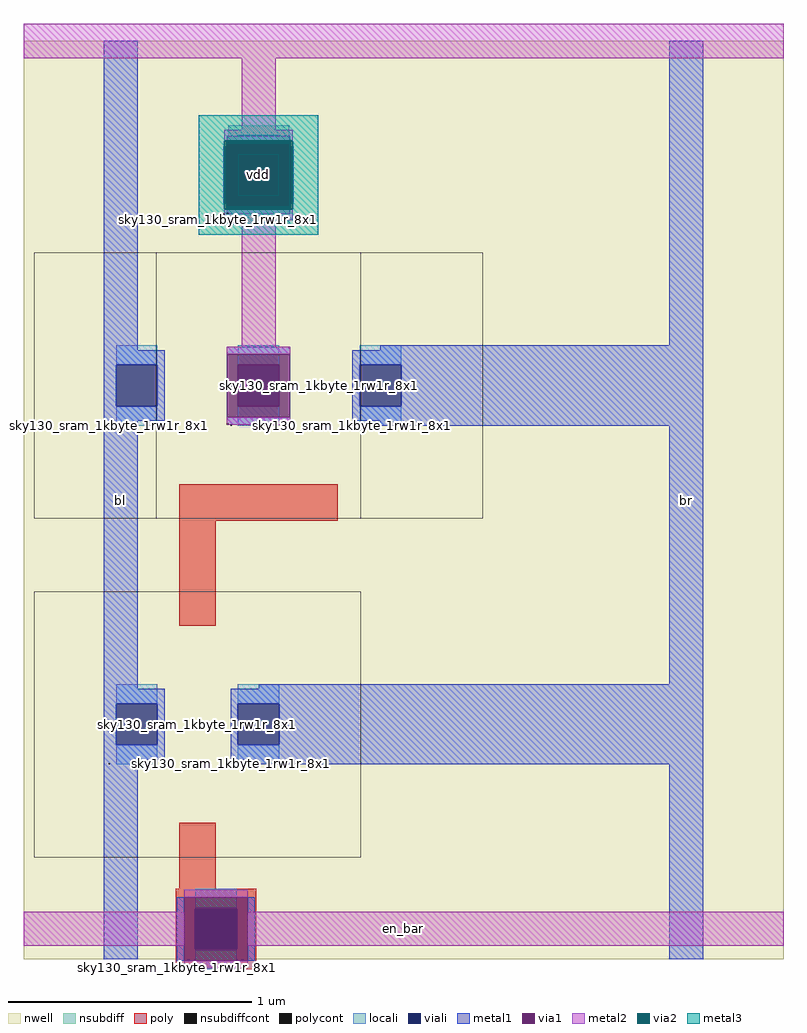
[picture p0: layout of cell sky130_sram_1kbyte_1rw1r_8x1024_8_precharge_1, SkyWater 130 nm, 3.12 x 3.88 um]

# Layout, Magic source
magic
tech sky130A
magscale 1 2
<< nwell >>
rect 0 0 624 754
<< nsubdiff >>
rect 168 661 218 685
rect 168 627 176 661
rect 210 627 218 661
rect 168 603 218 627
<< nsubdiffcont >>
rect 176 627 210 661
<< poly >>
rect 128 360 258 390
rect 128 274 158 360
rect 128 58 158 112
rect 125 42 191 58
rect 125 8 141 42
rect 175 8 191 42
rect 125 -8 191 8
<< polycont >>
rect 141 8 175 42
<< locali >>
rect 176 661 210 677
rect 176 611 210 627
rect 76 488 110 504
rect 76 438 110 454
rect 176 488 210 504
rect 176 438 210 454
rect 276 488 310 504
rect 276 438 310 454
rect 76 210 110 226
rect 76 160 110 176
rect 176 210 210 226
rect 176 160 210 176
rect 141 42 175 58
rect 141 -8 175 8
<< viali >>
rect 176 627 210 661
rect 76 454 110 488
rect 176 454 210 488
rect 276 454 310 488
rect 76 176 110 210
rect 176 176 210 210
rect 141 8 175 42
<< metal1 >>
rect 66 500 94 754
rect 167 670 219 676
rect 164 621 167 667
rect 219 621 222 667
rect 167 612 219 618
rect 530 504 558 754
rect 66 488 116 500
rect 66 454 76 488
rect 110 454 116 488
rect 66 442 116 454
rect 167 497 219 503
rect 293 500 558 504
rect 66 222 94 442
rect 167 439 219 445
rect 270 488 558 500
rect 270 454 276 488
rect 310 454 558 488
rect 270 442 558 454
rect 293 438 558 442
rect 530 226 558 438
rect 193 222 558 226
rect 66 210 116 222
rect 66 176 76 210
rect 110 176 116 210
rect 66 164 116 176
rect 170 210 558 222
rect 170 176 176 210
rect 210 176 558 210
rect 170 164 558 176
rect 66 0 94 164
rect 193 160 558 164
rect 126 -1 132 51
rect 184 -1 190 51
rect 530 0 558 160
<< via1 >>
rect 167 661 219 670
rect 167 627 176 661
rect 176 627 210 661
rect 210 627 219 661
rect 167 618 219 627
rect 167 488 219 497
rect 167 454 176 488
rect 176 454 210 488
rect 210 454 219 488
rect 167 445 219 454
rect 132 42 184 51
rect 132 8 141 42
rect 141 8 175 42
rect 175 8 184 42
rect 132 -1 184 8
<< metal2 >>
rect 0 740 624 768
rect 179 681 207 740
rect 165 672 221 681
rect 165 607 221 616
rect 179 503 207 607
rect 167 497 219 503
rect 167 439 219 445
rect 132 51 184 57
rect 0 11 132 39
rect 184 11 624 39
rect 132 -7 184 -1
<< via2 >>
rect 165 670 221 672
rect 165 618 167 670
rect 167 618 219 670
rect 219 618 221 670
rect 165 616 221 618
<< metal3 >>
rect 144 672 242 693
rect 144 616 165 672
rect 221 616 242 672
rect 144 595 242 616
use sky130_sram_1kbyte_1rw1r_8x1024_8_contact_23  sky130_sram_1kbyte_1rw1r_8x1024_8_contact_23_0
transform 1 0 270 0 1 438
box 0 0 1 1
use sky130_sram_1kbyte_1rw1r_8x1024_8_contact_23  sky130_sram_1kbyte_1rw1r_8x1024_8_contact_23_1
transform 1 0 70 0 1 438
box 0 0 1 1
use sky130_sram_1kbyte_1rw1r_8x1024_8_contact_23  sky130_sram_1kbyte_1rw1r_8x1024_8_contact_23_2
transform 1 0 170 0 1 160
box 0 0 1 1
use sky130_sram_1kbyte_1rw1r_8x1024_8_contact_23  sky130_sram_1kbyte_1rw1r_8x1024_8_contact_23_3
transform 1 0 70 0 1 160
box 0 0 1 1
use sky130_sram_1kbyte_1rw1r_8x1024_8_contact_21  sky130_sram_1kbyte_1rw1r_8x1024_8_contact_21_0
transform 1 0 167 0 1 439
box 0 0 1 1
use sky130_sram_1kbyte_1rw1r_8x1024_8_contact_23  sky130_sram_1kbyte_1rw1r_8x1024_8_contact_23_4
transform 1 0 170 0 1 438
box 0 0 1 1
use sky130_sram_1kbyte_1rw1r_8x1024_8_contact_22  sky130_sram_1kbyte_1rw1r_8x1024_8_contact_22_0
transform 1 0 160 0 1 607
box 0 0 1 1
use sky130_sram_1kbyte_1rw1r_8x1024_8_contact_21  sky130_sram_1kbyte_1rw1r_8x1024_8_contact_21_1
transform 1 0 167 0 1 612
box 0 0 1 1
use sky130_sram_1kbyte_1rw1r_8x1024_8_contact_14  sky130_sram_1kbyte_1rw1r_8x1024_8_contact_14_0
transform 1 0 164 0 1 611
box 0 0 1 1
use sky130_sram_1kbyte_1rw1r_8x1024_8_contact_13  sky130_sram_1kbyte_1rw1r_8x1024_8_contact_13_0
transform 1 0 168 0 1 603
box 0 0 1 1
use sky130_sram_1kbyte_1rw1r_8x1024_8_contact_19  sky130_sram_1kbyte_1rw1r_8x1024_8_contact_19_0
transform 1 0 126 0 1 -7
box 0 0 1 1
use sky130_sram_1kbyte_1rw1r_8x1024_8_contact_14  sky130_sram_1kbyte_1rw1r_8x1024_8_contact_14_1
transform 1 0 129 0 1 -8
box 0 0 1 1
use sky130_sram_1kbyte_1rw1r_8x1024_8_contact_16  sky130_sram_1kbyte_1rw1r_8x1024_8_contact_16_0
transform 1 0 125 0 1 -8
box 0 0 1 1
use sky130_sram_1kbyte_1rw1r_8x1024_8_pmos_m1_w0_550_sli_dli  sky130_sram_1kbyte_1rw1r_8x1024_8_pmos_m1_w0_550_sli_dli_0
transform 1 0 168 0 1 416
box -59 -54 209 164
use sky130_sram_1kbyte_1rw1r_8x1024_8_pmos_m1_w0_550_sli_dli  sky130_sram_1kbyte_1rw1r_8x1024_8_pmos_m1_w0_550_sli_dli_1
transform 1 0 68 0 1 416
box -59 -54 209 164
use sky130_sram_1kbyte_1rw1r_8x1024_8_pmos_m1_w0_550_sli_dli  sky130_sram_1kbyte_1rw1r_8x1024_8_pmos_m1_w0_550_sli_dli_2
transform 1 0 68 0 1 138
box -59 -54 209 164
<< labels >>
rlabel metal3 s 144 595 242 693 4 vdd
port 1 nsew
rlabel metal2 s 0 11 624 39 4 en_bar
port 2 nsew
rlabel metal1 s 66 0 94 754 4 bl
port 3 nsew
rlabel metal1 s 530 0 558 754 4 br
port 4 nsew
<< properties >>
string FIXED_BBOX 105 -28 211 0
string GDS_FILE $PDKPATH/libs.ref/sky130_sram_macros/gds/sky130_sram_1kbyte_1rw1r_8x1024_8.gds
string GDS_END 186562
string GDS_START 183428
<< end >>
